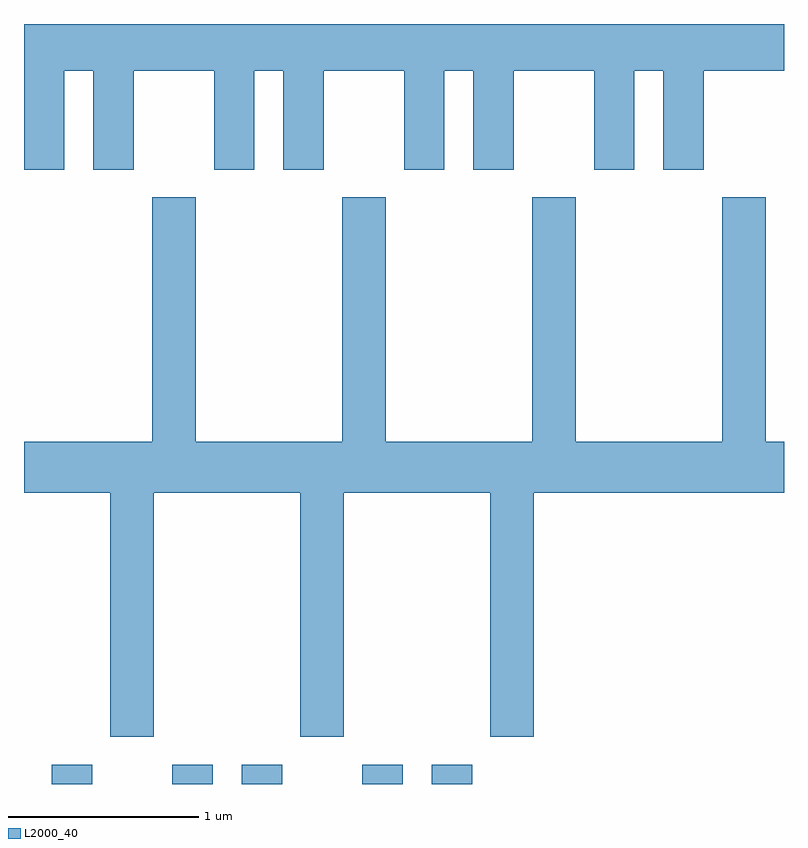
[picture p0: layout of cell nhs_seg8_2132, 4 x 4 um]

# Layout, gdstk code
import gdstk
lib = gdstk.Library(unit=1e-6, precision=1e-09)
def R(c, l, rs):  # rectangles x0, y0, x1, y1
    for r in rs: c.add(gdstk.rectangle(r[:2], r[2:], *l))
def P(c, l, *ps):  # polygons
    for p in ps: c.add(gdstk.Polygon(p, *l))
L2000_40 = (2000, 40)

nhs_seg8_2132 = lib.new_cell('nhs_seg8_2132')
R(nhs_seg8_2132, L2000_40, [(247.756,1930.342,247.969,1930.444), (248.391,1930.342,248.604,1930.444), (248.756,1930.342,248.969,1930.444), (249.391,1930.342,249.604,1930.444), (249.756,1930.342,249.969,1930.444)])
P(nhs_seg8_2132, L2000_40, [(247.824,1934.096),(247.976,1934.096),(247.976,1933.576),(248.189,1933.576),(248.189,1934.096),(248.611,1934.096),(248.611,1933.576),(248.824,1933.576),(248.824,1934.096),(248.976,1934.096),(248.976,1933.576),(249.189,1933.576),(249.189,1934.096),(249.611,1934.096),(249.611,1933.576),(249.824,1933.576),(249.824,1934.096),(249.976,1934.096),(249.976,1933.576),(250.189,1933.576),(250.189,1934.096),(250.611,1934.096),(250.611,1933.576),(250.824,1933.576),(250.824,1934.096),(250.976,1934.096),(250.976,1933.576),(251.189,1933.576),(251.189,1934.096),(251.611,1934.096),(251.611,1934.342),(247.611,1934.342),(247.611,1933.576),(247.824,1933.576)],
  [(248.294,1931.876),(249.066,1931.876),(249.066,1930.591),(249.294,1930.591),(249.294,1931.876),(250.066,1931.876),(250.066,1930.591),(250.294,1930.591),(250.294,1931.876),(251.611,1931.876),(251.611,1932.144),(251.514,1932.144),(251.514,1933.429),(251.286,1933.429),(251.286,1932.144),(250.514,1932.144),(250.514,1933.429),(250.286,1933.429),(250.286,1932.144),(249.514,1932.144),(249.514,1933.429),(249.286,1933.429),(249.286,1932.144),(248.514,1932.144),(248.514,1933.429),(248.286,1933.429),(248.286,1932.144),(247.611,1932.144),(247.611,1931.876),(248.066,1931.876),(248.066,1930.591),(248.294,1930.591)])

lib.write_gds('nhs_seg8_2132.gds')
